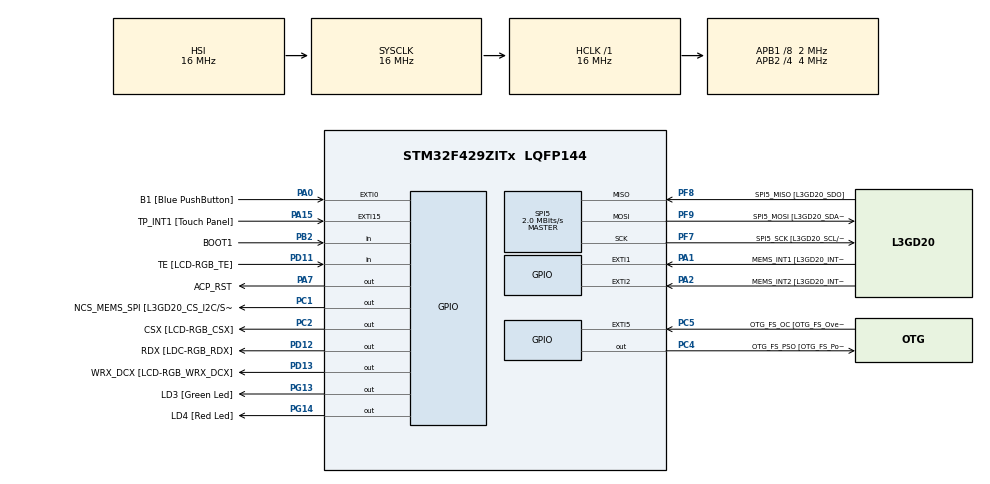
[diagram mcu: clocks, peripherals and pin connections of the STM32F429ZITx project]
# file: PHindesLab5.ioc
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Mcu.Family=STM32F4
Mcu.Name=STM32F429ZITx
Mcu.Package=LQFP144
NVIC.EXTI0_IRQn=true\:0\:0\:false\:false\:true\:true\:true\:true
NVIC.PriorityGroup=NVIC_PRIORITYGROUP_0
PA0/WKUP.GPIO_Label=B1 [Blue PushButton]
PA0/WKUP.GPIO_ModeDefaultEXTI=GPIO_MODE_IT_RISING
PA0/WKUP.GPIO_PuPd=GPIO_NOPULL
PA0/WKUP.Signal=GPXTI0
PA1.GPIO_Label=MEMS_INT1 [L3GD20_INT1]
PA1.GPIO_ModeDefaultEXTI=GPIO_MODE_EVT_RISING
PA1.GPIO_PuPd=GPIO_NOPULL
PA1.Signal=GPXTI1
PA10.GPIO_Label=STLINK_TX [STM32F103CBT6_PA2]
PA10.Signal=USART1_RX
PA11.GPIO_Label=R4
PA11.GPIO_Mode=GPIO_MODE_AF_PP
PA11.GPIO_PuPd=GPIO_NOPULL
PA11.GPIO_Speed=GPIO_SPEED_FREQ_LOW
PA11.Signal=LTDC_R4
PA12.GPIO_Label=R5
PA12.GPIO_Mode=GPIO_MODE_AF_PP
PA12.GPIO_PuPd=GPIO_NOPULL
PA12.GPIO_Speed=GPIO_SPEED_FREQ_LOW
PA12.Signal=LTDC_R5
PA13.GPIO_Label=SWDIO
PA13.Signal=SYS_JTMS-SWDIO
PA14.GPIO_Label=SWCLK
PA14.Signal=SYS_JTCK-SWCLK
PA15.GPIO_Label=TP_INT1 [Touch Panel]
PA15.GPIO_ModeDefaultEXTI=GPIO_MODE_EVT_RISING
PA15.GPIO_PuPd=GPIO_NOPULL
PA15.Signal=GPXTI15
PA2.GPIO_Label=MEMS_INT2 [L3GD20_INT2]
PA2.GPIO_ModeDefaultEXTI=GPIO_MODE_EVT_RISING
PA2.GPIO_PuPd=GPIO_NOPULL
PA2.Signal=GPXTI2
PA3.GPIO_Label=B5
PA3.GPIO_Mode=GPIO_MODE_AF_PP
PA3.GPIO_PuPd=GPIO_NOPULL
PA3.GPIO_Speed=GPIO_SPEED_FREQ_LOW
PA3.Signal=LTDC_B5
PA4.GPIO_Label=VSYNC
PA4.GPIO_Mode=GPIO_MODE_AF_PP
PA4.GPIO_PuPd=GPIO_NOPULL
PA4.GPIO_Speed=GPIO_SPEED_FREQ_LOW
PA4.Signal=LTDC_VSYNC
PA6.GPIO_Label=G2
PA6.GPIO_Mode=GPIO_MODE_AF_PP
PA6.GPIO_PuPd=GPIO_NOPULL
PA6.GPIO_Speed=GPIO_SPEED_FREQ_LOW
PA6.Signal=LTDC_G2
PA7.GPIO_Label=ACP_RST
PA7.GPIO_Mode=GPIO_MODE_OUTPUT_PP
PA7.GPIO_PuPd=GPIO_NOPULL
PA7.GPIO_Speed=GPIO_SPEED_FREQ_LOW
PA7.Signal=GPIO_Output
PA8.GPIO_Label=I2C3_SCL [ACP/RF_SCL]
PA8.GPIO_Mode=GPIO_MODE_AF_OD
PA8.GPIO_PuPd=GPIO_NOPULL
PA8.GPIO_Speed=GPIO_SPEED_FREQ_LOW
PA8.Signal=I2C3_SCL
PA9.GPIO_Label=STLINK_RX [STM32F103CBT6_PA3]
PA9.Signal=USART1_TX
PB0.GPIO_Label=R3
PB0.GPIO_Mode=GPIO_MODE_AF_PP
PB0.GPIO_PuPd=GPIO_NOPULL
PB0.GPIO_Speed=GPIO_SPEED_FREQ_LOW
PB0.Signal=LTDC_R3
PB1.GPIO_Label=R6
PB1.GPIO_Mode=GPIO_MODE_AF_PP
PB1.GPIO_PuPd=GPIO_NOPULL
PB1.GPIO_Speed=GPIO_SPEED_FREQ_LOW
PB1.Signal=LTDC_R6
PB10.GPIO_Label=G4
PB10.GPIO_Mode=GPIO_MODE_AF_PP
PB10.GPIO_PuPd=GPIO_NOPULL
PB10.GPIO_Speed=GPIO_SPEED_FREQ_LOW
PB10.Signal=LTDC_G4
PB11.GPIO_Label=G5
PB11.GPIO_Mode=GPIO_MODE_AF_PP
PB11.GPIO_PuPd=GPIO_NOPULL
PB11.GPIO_Speed=GPIO_SPEED_FREQ_LOW
PB11.Signal=LTDC_G5
PB12.GPIO_Label=OTG_HS_ID
PB12.GPIO_Mode=GPIO_MODE_AF_PP
PB12.GPIO_PuPd=GPIO_NOPULL
PB12.GPIO_Speed=GPIO_SPEED_FREQ_LOW
PB12.Signal=USB_OTG_HS_ID
PB13.GPIO_Label=VBUS_HS
PB13.GPIO_Mode=GPIO_MODE_INPUT
PB13.GPIO_PuPd=GPIO_NOPULL
PB13.Signal=USB_OTG_HS_VBUS
PB14.GPIO_Label=OTG_HS_DM
PB14.GPIO_Mode=GPIO_MODE_AF_PP
PB14.GPIO_PuPd=GPIO_NOPULL
PB14.GPIO_Speed=GPIO_SPEED_FREQ_LOW
PB14.Signal=USB_OTG_HS_DM
PB15.GPIO_Label=OTG_HS_DP
PB15.GPIO_Mode=GPIO_MODE_AF_PP
PB15.GPIO_PuPd=GPIO_NOPULL
PB15.GPIO_Speed=GPIO_SPEED_FREQ_LOW
PB15.Signal=USB_OTG_HS_DP
PB2/BOOT1.GPIO_Label=BOOT1
PB2/BOOT1.GPIO_Mode=GPIO_MODE_INPUT
PB2/BOOT1.GPIO_PuPd=GPIO_NOPULL
PB2/BOOT1.Signal=GPIO_Input
PB5.GPIO_Label=SDCKE1
PB5.GPIO_Mode=GPIO_MODE_AF_PP
PB5.GPIO_PuPd=GPIO_NOPULL
PB5.GPIO_Speed=GPIO_SPEED_FREQ_VERY_HIGH
PB5.Signal=FMC_SDCKE1
PB6.GPIO_Label=SDNE1 [SDRAM_CS]
PB6.GPIO_Mode=GPIO_MODE_AF_PP
PB6.GPIO_PuPd=GPIO_NOPULL
PB6.GPIO_Speed=GPIO_SPEED_FREQ_VERY_HIGH
PB6.Signal=FMC_SDNE1
PB8.GPIO_Label=B6
PB8.GPIO_Mode=GPIO_MODE_AF_PP
PB8.GPIO_PuPd=GPIO_NOPULL
PB8.GPIO_Speed=GPIO_SPEED_FREQ_LOW
PB8.Signal=LTDC_B6
PB9.GPIO_Label=B7
PB9.GPIO_Mode=GPIO_MODE_AF_PP
PB9.GPIO_PuPd=GPIO_NOPULL
PB9.GPIO_Speed=GPIO_SPEED_FREQ_LOW
PB9.Signal=LTDC_B7
PC0.GPIO_Label=SDNWE
PC0.GPIO_Mode=GPIO_MODE_AF_PP
PC0.GPIO_PuPd=GPIO_NOPULL
PC0.GPIO_Speed=GPIO_SPEED_FREQ_VERY_HIGH
PC0.Signal=FMC_SDNWE
PC1.GPIO_Label=NCS_MEMS_SPI [L3GD20_CS_I2C/SPI]
PC1.GPIO_Mode=GPIO_MODE_OUTPUT_PP
PC1.GPIO_PuPd=GPIO_NOPULL
PC1.GPIO_Speed=GPIO_SPEED_FREQ_LOW
PC1.Signal=GPIO_Output
PC10.GPIO_Label=R2
PC10.GPIO_Mode=GPIO_MODE_AF_PP
PC10.GPIO_PuPd=GPIO_NOPULL
PC10.GPIO_Speed=GPIO_SPEED_FREQ_LOW
PC10.Signal=LTDC_R2
PC14/OSC32_IN.GPIO_Label=PC14-OSC32_IN
PC14/OSC32_IN.Signal=RCC_OSC32_IN
PC15/OSC32_OUT.GPIO_Label=PC15-OSC32_OUT
PC15/OSC32_OUT.Signal=RCC_OSC32_OUT
PC2.GPIO_Label=CSX [LCD-RGB_CSX]
PC2.GPIO_Mode=GPIO_MODE_OUTPUT_PP
PC2.GPIO_PuPd=GPIO_NOPULL
PC2.GPIO_Speed=GPIO_SPEED_FREQ_LOW
PC2.Signal=GPIO_Output
PC4.GPIO_Label=OTG_FS_PSO [OTG_FS_PowerSwitchOn]
PC4.GPIO_Mode=GPIO_MODE_OUTPUT_PP
PC4.GPIO_PuPd=GPIO_NOPULL
PC4.GPIO_Speed=GPIO_SPEED_FREQ_LOW
PC4.Signal=GPIO_Output
PC5.GPIO_Label=OTG_FS_OC [OTG_FS_OverCurrent]
PC5.GPIO_ModeDefaultEXTI=GPIO_MODE_EVT_RISING
PC5.Signal=GPXTI5
PC6.GPIO_Label=HSYNC
PC6.GPIO_Mode=GPIO_MODE_AF_PP
PC6.GPIO_PuPd=GPIO_NOPULL
PC6.GPIO_Speed=GPIO_SPEED_FREQ_LOW
PC6.Signal=LTDC_HSYNC
PC7.GPIO_Label=G6
PC7.GPIO_Mode=GPIO_MODE_AF_PP
PC7.GPIO_PuPd=GPIO_NOPULL
PC7.GPIO_Speed=GPIO_SPEED_FREQ_LOW
PC7.Signal=LTDC_G6
PC9.GPIO_Label=I2C3_SDA [ACP/RF_SDA]
PC9.GPIO_Mode=GPIO_MODE_AF_OD
PC9.GPIO_PuPd=GPIO_NOPULL
PC9.GPIO_Speed=GPIO_SPEED_FREQ_LOW
PC9.Signal=I2C3_SDA
PD0.GPIO_Label=D2
PD0.GPIO_Mode=GPIO_MODE_AF_PP
PD0.GPIO_PuPd=GPIO_NOPULL
PD0.GPIO_Speed=GPIO_SPEED_FREQ_VERY_HIGH
PD0.Signal=FMC_D2_DA2
PD1.GPIO_Label=D3
PD1.GPIO_Mode=GPIO_MODE_AF_PP
PD1.GPIO_PuPd=GPIO_NOPULL
PD1.GPIO_Speed=GPIO_SPEED_FREQ_VERY_HIGH
PD1.Signal=FMC_D3_DA3
PD10.GPIO_Label=D15
PD10.GPIO_Mode=GPIO_MODE_AF_PP
PD10.GPIO_PuPd=GPIO_NOPULL
PD10.GPIO_Speed=GPIO_SPEED_FREQ_VERY_HIGH
PD10.Signal=FMC_D15_DA15
PD11.GPIO_Label=TE [LCD-RGB_TE]
PD11.GPIO_Mode=GPIO_MODE_INPUT
PD11.GPIO_PuPd=GPIO_NOPULL
PD11.Signal=GPIO_Input
PD12.GPIO_Label=RDX [LDC-RGB_RDX]
PD12.GPIO_Mode=GPIO_MODE_OUTPUT_PP
PD12.GPIO_PuPd=GPIO_NOPULL
PD12.GPIO_Speed=GPIO_SPEED_FREQ_LOW
PD12.Signal=GPIO_Output
PD13.GPIO_Label=WRX_DCX [LCD-RGB_WRX_DCX]
PD13.GPIO_Mode=GPIO_MODE_OUTPUT_PP
PD13.GPIO_PuPd=GPIO_NOPULL
PD13.GPIO_Speed=GPIO_SPEED_FREQ_LOW
PD13.Signal=GPIO_Output
PD14.GPIO_Label=D0
PD14.GPIO_Mode=GPIO_MODE_AF_PP
PD14.GPIO_PuPd=GPIO_NOPULL
PD14.GPIO_Speed=GPIO_SPEED_FREQ_VERY_HIGH
PD14.Signal=FMC_D0_DA0
PD15.GPIO_Label=D1
PD15.GPIO_Mode=GPIO_MODE_AF_PP
PD15.GPIO_PuPd=GPIO_NOPULL
PD15.GPIO_Speed=GPIO_SPEED_FREQ_VERY_HIGH
PD15.Signal=FMC_D1_DA1
PD3.GPIO_Label=G7
PD3.GPIO_Mode=GPIO_MODE_AF_PP
PD3.GPIO_PuPd=GPIO_NOPULL
PD3.GPIO_Speed=GPIO_SPEED_FREQ_LOW
PD3.Signal=LTDC_G7
PD6.GPIO_Label=B2
PD6.GPIO_Mode=GPIO_MODE_AF_PP
PD6.GPIO_PuPd=GPIO_NOPULL
PD6.GPIO_Speed=GPIO_SPEED_FREQ_LOW
PD6.Signal=LTDC_B2
PD8.GPIO_Label=D13
PD8.GPIO_Mode=GPIO_MODE_AF_PP
PD8.GPIO_PuPd=GPIO_NOPULL
PD8.GPIO_Speed=GPIO_SPEED_FREQ_VERY_HIGH
PD8.Signal=FMC_D13_DA13
PD9.GPIO_Label=D14
PD9.GPIO_Mode=GPIO_MODE_AF_PP
PD9.GPIO_PuPd=GPIO_NOPULL
PD9.GPIO_Speed=GPIO_SPEED_FREQ_VERY_HIGH
PD9.Signal=FMC_D14_DA14
PE0.GPIO_Label=NBL0 [SDRAM_LDQM]
PE0.GPIO_Mode=GPIO_MODE_AF_PP
PE0.GPIO_PuPd=GPIO_NOPULL
PE0.GPIO_Speed=GPIO_SPEED_FREQ_VERY_HIGH
PE0.Signal=FMC_NBL0
PE1.GPIO_Label=NBL1 [SDRAM_UDQM]
PE1.GPIO_Mode=GPIO_MODE_AF_PP
PE1.GPIO_PuPd=GPIO_NOPULL
PE1.GPIO_Speed=GPIO_SPEED_FREQ_VERY_HIGH
PE1.Signal=FMC_NBL1
PE10.GPIO_Label=D7
PE10.GPIO_Mode=GPIO_MODE_AF_PP
PE10.GPIO_PuPd=GPIO_NOPULL
PE10.GPIO_Speed=GPIO_SPEED_FREQ_VERY_HIGH
PE10.Signal=FMC_D7_DA7
PE11.GPIO_Label=D8
PE11.GPIO_Mode=GPIO_MODE_AF_PP
PE11.GPIO_PuPd=GPIO_NOPULL
PE11.GPIO_Speed=GPIO_SPEED_FREQ_VERY_HIGH
PE11.Signal=FMC_D8_DA8
PE12.GPIO_Label=D9
PE12.GPIO_Mode=GPIO_MODE_AF_PP
PE12.GPIO_PuPd=GPIO_NOPULL
PE12.GPIO_Speed=GPIO_SPEED_FREQ_VERY_HIGH
PE12.Signal=FMC_D9_DA9
PE13.GPIO_Label=D10
PE13.GPIO_Mode=GPIO_MODE_AF_PP
PE13.GPIO_PuPd=GPIO_NOPULL
PE13.GPIO_Speed=GPIO_SPEED_FREQ_VERY_HIGH
PE13.Signal=FMC_D10_DA10
PE14.GPIO_Label=D11
PE14.GPIO_Mode=GPIO_MODE_AF_PP
PE14.GPIO_PuPd=GPIO_NOPULL
PE14.GPIO_Speed=GPIO_SPEED_FREQ_VERY_HIGH
PE14.Signal=FMC_D11_DA11
PE15.GPIO_Label=D12
PE15.GPIO_Mode=GPIO_MODE_AF_PP
PE15.GPIO_PuPd=GPIO_NOPULL
PE15.GPIO_Speed=GPIO_SPEED_FREQ_VERY_HIGH
PE15.Signal=FMC_D12_DA12
PE7.GPIO_Label=D4
PE7.GPIO_Mode=GPIO_MODE_AF_PP
PE7.GPIO_PuPd=GPIO_NOPULL
PE7.GPIO_Speed=GPIO_SPEED_FREQ_VERY_HIGH
PE7.Signal=FMC_D4_DA4
PE8.GPIO_Label=D5
PE8.GPIO_Mode=GPIO_MODE_AF_PP
PE8.GPIO_PuPd=GPIO_NOPULL
PE8.GPIO_Speed=GPIO_SPEED_FREQ_VERY_HIGH
PE8.Signal=FMC_D5_DA5
PE9.GPIO_Label=D6
PE9.GPIO_Mode=GPIO_MODE_AF_PP
PE9.GPIO_PuPd=GPIO_NOPULL
PE9.GPIO_Speed=GPIO_SPEED_FREQ_VERY_HIGH
PE9.Signal=FMC_D6_DA6
PF0.GPIO_Label=A0
PF0.GPIO_Mode=GPIO_MODE_AF_PP
PF0.GPIO_PuPd=GPIO_NOPULL
PF0.GPIO_Speed=GPIO_SPEED_FREQ_VERY_HIGH
PF0.Signal=FMC_A0
PF1.GPIO_Label=A1
PF1.GPIO_Mode=GPIO_MODE_AF_PP
PF1.GPIO_PuPd=GPIO_NOPULL
PF1.GPIO_Speed=GPIO_SPEED_FREQ_VERY_HIGH
PF1.Signal=FMC_A1
PF10.GPIO_Label=ENABLE [LCD-RGB_ENABLE]
PF10.GPIO_Mode=GPIO_MODE_AF_PP
PF10.GPIO_PuPd=GPIO_NOPULL
PF10.GPIO_Speed=GPIO_SPEED_FREQ_LOW
PF10.Signal=LTDC_DE
PF11.GPIO_Label=SDNRAS
PF11.GPIO_Mode=GPIO_MODE_AF_PP
PF11.GPIO_PuPd=GPIO_NOPULL
PF11.GPIO_Speed=GPIO_SPEED_FREQ_VERY_HIGH
PF11.Signal=FMC_SDNRAS
PF12.GPIO_Label=A6
PF12.GPIO_Mode=GPIO_MODE_AF_PP
PF12.GPIO_PuPd=GPIO_NOPULL
PF12.GPIO_Speed=GPIO_SPEED_FREQ_VERY_HIGH
PF12.Signal=FMC_A6
PF13.GPIO_Label=A7
PF13.GPIO_Mode=GPIO_MODE_AF_PP
PF13.GPIO_PuPd=GPIO_NOPULL
PF13.GPIO_Speed=GPIO_SPEED_FREQ_VERY_HIGH
PF13.Signal=FMC_A7
PF14.GPIO_Label=A8
PF14.GPIO_Mode=GPIO_MODE_AF_PP
PF14.GPIO_PuPd=GPIO_NOPULL
PF14.GPIO_Speed=GPIO_SPEED_FREQ_VERY_HIGH
PF14.Signal=FMC_A8
PF15.GPIO_Label=A9
PF15.GPIO_Mode=GPIO_MODE_AF_PP
PF15.GPIO_PuPd=GPIO_NOPULL
PF15.GPIO_Speed=GPIO_SPEED_FREQ_VERY_HIGH
PF15.Signal=FMC_A9
PF2.GPIO_Label=A2
PF2.GPIO_Mode=GPIO_MODE_AF_PP
PF2.GPIO_PuPd=GPIO_NOPULL
PF2.GPIO_Speed=GPIO_SPEED_FREQ_VERY_HIGH
PF2.Signal=FMC_A2
PF3.GPIO_Label=A3
PF3.GPIO_Mode=GPIO_MODE_AF_PP
PF3.GPIO_PuPd=GPIO_NOPULL
PF3.GPIO_Speed=GPIO_SPEED_FREQ_VERY_HIGH
PF3.Signal=FMC_A3
PF4.GPIO_Label=A4
PF4.GPIO_Mode=GPIO_MODE_AF_PP
PF4.GPIO_PuPd=GPIO_NOPULL
PF4.GPIO_Speed=GPIO_SPEED_FREQ_VERY_HIGH
PF4.Signal=FMC_A4
PF5.GPIO_Label=A5
PF5.GPIO_Mode=GPIO_MODE_AF_PP
PF5.GPIO_PuPd=GPIO_NOPULL
PF5.GPIO_Speed=GPIO_SPEED_FREQ_VERY_HIGH
PF5.Signal=FMC_A5
PF7.GPIO_Label=SPI5_SCK [L3GD20_SCL/SPC]
PF7.GPIO_Mode=GPIO_MODE_AF_PP
PF7.GPIO_PuPd=GPIO_NOPULL
PF7.GPIO_Speed=GPIO_SPEED_FREQ_LOW
PF7.Mode=Full_Duplex_Master
PF7.Signal=SPI5_SCK
PF8.GPIO_Label=SPI5_MISO [L3GD20_SDO]
PF8.GPIO_Mode=GPIO_MODE_AF_PP
PF8.GPIO_PuPd=GPIO_NOPULL
PF8.GPIO_Speed=GPIO_SPEED_FREQ_LOW
PF8.Mode=Full_Duplex_Master
PF8.Signal=SPI5_MISO
PF9.GPIO_Label=SPI5_MOSI [L3GD20_SDA/SDI/SDO]
PF9.GPIO_Mode=GPIO_MODE_AF_PP
PF9.GPIO_PuPd=GPIO_NOPULL
PF9.GPIO_Speed=GPIO_SPEED_FREQ_LOW
PF9.Mode=Full_Duplex_Master
PF9.Signal=SPI5_MOSI
PG0.GPIO_Label=A10
PG0.GPIO_Mode=GPIO_MODE_AF_PP
PG0.GPIO_PuPd=GPIO_NOPULL
PG0.GPIO_Speed=GPIO_SPEED_FREQ_VERY_HIGH
PG0.Signal=FMC_A10
PG1.GPIO_Label=A11
PG1.GPIO_Mode=GPIO_MODE_AF_PP
PG1.GPIO_PuPd=GPIO_NOPULL
PG1.GPIO_Speed=GPIO_SPEED_FREQ_VERY_HIGH
PG1.Signal=FMC_A11
PG10.GPIO_Label=G3
PG10.GPIO_Mode=GPIO_MODE_AF_PP
PG10.GPIO_PuPd=GPIO_NOPULL
PG10.GPIO_Speed=GPIO_SPEED_FREQ_LOW
PG10.Signal=LTDC_G3
PG11.GPIO_Label=B3
PG11.GPIO_Mode=GPIO_MODE_AF_PP
PG11.GPIO_PuPd=GPIO_NOPULL
PG11.GPIO_Speed=GPIO_SPEED_FREQ_LOW
PG11.Signal=LTDC_B3
PG12.GPIO_Label=B4
PG12.GPIO_Mode=GPIO_MODE_AF_PP
PG12.GPIO_PuPd=GPIO_NOPULL
PG12.GPIO_Speed=GPIO_SPEED_FREQ_LOW
PG12.Signal=LTDC_B4
PG13.GPIO_Label=LD3 [Green Led]
PG13.GPIO_Mode=GPIO_MODE_OUTPUT_PP
PG13.GPIO_PuPd=GPIO_NOPULL
PG13.GPIO_Speed=GPIO_SPEED_FREQ_LOW
PG13.Signal=GPIO_Output
PG14.GPIO_Label=LD4 [Red Led]
PG14.GPIO_Mode=GPIO_MODE_OUTPUT_PP
PG14.GPIO_PuPd=GPIO_NOPULL
PG14.GPIO_Speed=GPIO_SPEED_FREQ_LOW
PG14.Signal=GPIO_Output
PG15.GPIO_Label=SDNCAS
PG15.GPIO_Mode=GPIO_MODE_AF_PP
PG15.GPIO_PuPd=GPIO_NOPULL
PG15.GPIO_Speed=GPIO_SPEED_FREQ_VERY_HIGH
PG15.Signal=FMC_SDNCAS
PG4.GPIO_Label=BA0
PG4.GPIO_Mode=GPIO_MODE_AF_PP
PG4.GPIO_PuPd=GPIO_NOPULL
PG4.GPIO_Speed=GPIO_SPEED_FREQ_VERY_HIGH
PG4.Signal=FMC_A14_BA0
PG5.GPIO_Label=BA1
PG5.GPIO_Mode=GPIO_MODE_AF_PP
PG5.GPIO_PuPd=GPIO_NOPULL
PG5.GPIO_Speed=GPIO_SPEED_FREQ_VERY_HIGH
PG5.Signal=FMC_A15_BA1
PG6.GPIO_Label=R7
PG6.GPIO_Mode=GPIO_MODE_AF_PP
PG6.GPIO_PuPd=GPIO_NOPULL
PG6.GPIO_Speed=GPIO_SPEED_FREQ_LOW
PG6.Signal=LTDC_R7
PG7.GPIO_Label=DOTCLK [LCT-RGB_DOTCLK]
PG7.GPIO_Mode=GPIO_MODE_AF_PP
PG7.GPIO_PuPd=GPIO_NOPULL
PG7.GPIO_Speed=GPIO_SPEED_FREQ_LOW
PG7.Signal=LTDC_CLK
PG8.GPIO_Label=SDCLK
PG8.GPIO_Mode=GPIO_MODE_AF_PP
PG8.GPIO_PuPd=GPIO_NOPULL
PG8.GPIO_Speed=GPIO_SPEED_FREQ_VERY_HIGH
PG8.Signal=FMC_SDCLK
PH0/OSC_IN.GPIO_Label=PH0-OSC_IN
PH0/OSC_IN.Signal=RCC_OSC_IN
PH1/OSC_OUT.GPIO_Label=PH1-OSC_OUT
PH1/OSC_OUT.Signal=RCC_OSC_OUT
ProjectManager.HeapSize=0x200
ProjectManager.StackSize=0x400
ProjectManager.TargetToolchain=STM32CubeIDE
RCC.48MHZClocksFreq_Value=14285714.285714285
RCC.AHBFreq_Value=16000000
RCC.APB1CLKDivider=RCC_HCLK_DIV8
RCC.APB1Freq_Value=2000000
RCC.APB1TimFreq_Value=4000000
RCC.APB2CLKDivider=RCC_HCLK_DIV4
RCC.APB2Freq_Value=4000000
RCC.APB2TimFreq_Value=8000000
RCC.CortexFreq_Value=16000000
RCC.HCLKFreq_Value=16000000
RCC.HSE_VALUE=8000000
RCC.HSI_VALUE=16000000
RCC.LSE_VALUE=32768
RCC.PLLM=8
RCC.PLLN=50
RCC.PLLP=RCC_PLLP_DIV4
RCC.PLLQ=7
RCC.SYSCLKFreq_VALUE=16000000
RCC.VCOOutputFreq_Value=100000000
SH.FMC_A0.0=FMC_A0
SH.FMC_A1.0=FMC_A1
SH.FMC_A10.0=FMC_A10
SH.FMC_A11.0=FMC_A11
SH.FMC_A14_BA0.0=FMC_BA0
SH.FMC_A15_BA1.0=FMC_BA1
SH.FMC_A2.0=FMC_A2
SH.FMC_A3.0=FMC_A3
SH.FMC_A4.0=FMC_A4
SH.FMC_A5.0=FMC_A5
SH.FMC_A6.0=FMC_A6
SH.FMC_A7.0=FMC_A7
SH.FMC_A8.0=FMC_A8
SH.FMC_A9.0=FMC_A9
SH.FMC_D0_DA0.0=FMC_D0
SH.FMC_D10_DA10.0=FMC_D10
SH.FMC_D11_DA11.0=FMC_D11
SH.FMC_D12_DA12.0=FMC_D12
SH.FMC_D13_DA13.0=FMC_D13
SH.FMC_D14_DA14.0=FMC_D14
SH.FMC_D15_DA15.0=FMC_D15
SH.FMC_D1_DA1.0=FMC_D1
SH.FMC_D2_DA2.0=FMC_D2
SH.FMC_D3_DA3.0=FMC_D3
SH.FMC_D4_DA4.0=FMC_D4
SH.FMC_D5_DA5.0=FMC_D5
SH.FMC_D6_DA6.0=FMC_D6
SH.FMC_D7_DA7.0=FMC_D7
SH.FMC_D8_DA8.0=FMC_D8
SH.FMC_D9_DA9.0=FMC_D9
SH.FMC_NBL0.0=FMC_NBL0
SH.FMC_NBL1.0=FMC_NBL1
SH.FMC_SDCLK.0=FMC_SDCLK
SH.FMC_SDNCAS.0=FMC_SDNCAS
SH.FMC_SDNRAS.0=FMC_SDNRAS
SH.FMC_SDNWE.0=FMC_SDNWE
SPI5.CalculateBaudRate=2.0 MBits/s
SPI5.Direction=SPI_DIRECTION_2LINES
SPI5.Mode=SPI_MODE_MASTER
SPI5.VirtualType=VM_MASTER
board=STM32F429I-DISC1

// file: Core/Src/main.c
/* USER CODE BEGIN Header */
/**
  ******************************************************************************
  * @file           : main.c
  * @brief          : Main program body
  ******************************************************************************
  * @attention
  *
  * Copyright (c) 2024 STMicroelectronics.
  * All rights reserved.
  *
  * This software is licensed under terms that can be found in the LICENSE file
  * in the root directory of this software component.
  * If no LICENSE file comes with this software, it is provided AS-IS.
  *
  ******************************************************************************
  */
/* USER CODE END Header */
#include "main.h"

/* USER CODE BEGIN Includes */
#include <types.h>
#include <ApplicationCode.h>
#include <Scheduler.h>
#include <Gyro.h>
extern void initialise_monitor_handles(void);
/* USER CODE END Includes */

SPI_HandleTypeDef hspi5;

/* USER CODE BEGIN PV */
void SystemClock_Config(void);
#ifdef HAL_INITS
/* USER CODE END PV */

void SystemClock_Config(void);
static void MX_GPIO_Init(void);
static void MX_SPI5_Init(void);
/* USER CODE BEGIN PFP */
#endif
/* USER CODE END PFP */

/* USER CODE BEGIN 0 */
void HAL_GPIO_EXTI_Callback(uint16_t GPIO_Pin)
{
	printf("\n");
//	printf("INT\n");
	addSchedulerEvent(DELAY_EVENT);
	addSchedulerEvent(PRINT_TEMP_EVENT);
}
/* USER CODE END 0 */

int main(void)
{

  /* USER CODE BEGIN 1 */
  initialise_monitor_handles();
  /* USER CODE END 1 */

  /* MCU Configuration--------------------------------------------------------*/

  /* Reset of all peripherals, Initializes the Flash interface and the Systick. */
  HAL_Init();

  /* Configure the system clock */
  SystemClock_Config();

  /* USER CODE BEGIN SysInit */
#ifdef HAL_INITS
  /* USER CODE END SysInit */

  /* Initialize all configured peripherals */
  MX_GPIO_Init();
  MX_SPI5_Init();
  /* USER CODE BEGIN 2 */
#endif
//	addSchedulerEvent(DELAY_EVENT);
//	addSchedulerEvent(PRINT_TEMP_EVENT);
	applicationInit();
  /* USER CODE END 2 */

  /* Infinite loop */
  /* USER CODE BEGIN WHILE */
	uint32_t eventsToRun = 0;
	while (1)
	{
		eventsToRun = getScheduledEvents();
		if ((eventsToRun & LED_TOGGLE_EVENT) != 0) {
			// TODO
		}
		if ((eventsToRun & DELAY_EVENT) != 0) {
			HAL_Delay(50);
			removeSchedulerEvent(DELAY_EVENT);
		}
		if ((eventsToRun & POLL_BTN_EVENT) != 0) {
			// TODO
		}
		if ((eventsToRun & PRINT_TEMP_EVENT) != 0) {
			Gyro_Get_Id();
			Gyro_Get_Temp();
			removeSchedulerEvent(PRINT_TEMP_EVENT);
		}
	}
    /* USER CODE END WHILE */

}

void SystemClock_Config(void)
{
  RCC_OscInitTypeDef RCC_OscInitStruct = {0};
  RCC_ClkInitTypeDef RCC_ClkInitStruct = {0};

  /** Configure the main internal regulator output voltage
  */
  __HAL_RCC_PWR_CLK_ENABLE();
  __HAL_PWR_VOLTAGESCALING_CONFIG(PWR_REGULATOR_VOLTAGE_SCALE3);

  /** Initializes the RCC Oscillators according to the specified parameters
  * in the RCC_OscInitTypeDef structure.
  */
  RCC_OscInitStruct.OscillatorType = RCC_OSCILLATORTYPE_HSI;
  RCC_OscInitStruct.HSIState = RCC_HSI_ON;
  RCC_OscInitStruct.HSICalibrationValue = RCC_HSICALIBRATION_DEFAULT;
  RCC_OscInitStruct.PLL.PLLState = RCC_PLL_NONE;
  if (HAL_RCC_OscConfig(&RCC_OscInitStruct) != HAL_OK)
  {
    Error_Handler();
  }

  /** Initializes the CPU, AHB and APB buses clocks
  */
  RCC_ClkInitStruct.ClockType = RCC_CLOCKTYPE_HCLK|RCC_CLOCKTYPE_SYSCLK
                              |RCC_CLOCKTYPE_PCLK1|RCC_CLOCKTYPE_PCLK2;
  RCC_ClkInitStruct.SYSCLKSource = RCC_SYSCLKSOURCE_HSI;
  RCC_ClkInitStruct.AHBCLKDivider = RCC_SYSCLK_DIV1;
  RCC_ClkInitStruct.APB1CLKDivider = RCC_HCLK_DIV8;
  RCC_ClkInitStruct.APB2CLKDivider = RCC_HCLK_DIV4;

  if (HAL_RCC_ClockConfig(&RCC_ClkInitStruct, FLASH_LATENCY_0) != HAL_OK)
  {
    Error_Handler();
  }
}

#ifdef HAL_INITS
static void MX_SPI5_Init(void)
{

  /* SPI5 parameter configuration*/
  hspi5.Instance = SPI5;
  hspi5.Init.Mode = SPI_MODE_MASTER;
  hspi5.Init.Direction = SPI_DIRECTION_2LINES;
  hspi5.Init.DataSize = SPI_DATASIZE_8BIT;
  hspi5.Init.CLKPolarity = SPI_POLARITY_LOW;
  hspi5.Init.CLKPhase = SPI_PHASE_1EDGE;
  hspi5.Init.NSS = SPI_NSS_SOFT;
  hspi5.Init.BaudRatePrescaler = SPI_BAUDRATEPRESCALER_2;
  hspi5.Init.FirstBit = SPI_FIRSTBIT_MSB;
  hspi5.Init.TIMode = SPI_TIMODE_DISABLE;
  hspi5.Init.CRCCalculation = SPI_CRCCALCULATION_DISABLE;
  hspi5.Init.CRCPolynomial = 10;
  if (HAL_SPI_Init(&hspi5) != HAL_OK)
  {
    Error_Handler();
  }

}

static void MX_GPIO_Init(void)
{
  GPIO_InitTypeDef GPIO_InitStruct = {0};

  /* GPIO Ports Clock Enable */
  __HAL_RCC_GPIOC_CLK_ENABLE();
  __HAL_RCC_GPIOF_CLK_ENABLE();
  __HAL_RCC_GPIOH_CLK_ENABLE();
  __HAL_RCC_GPIOA_CLK_ENABLE();
  __HAL_RCC_GPIOB_CLK_ENABLE();
  __HAL_RCC_GPIOG_CLK_ENABLE();
  __HAL_RCC_GPIOE_CLK_ENABLE();
  __HAL_RCC_GPIOD_CLK_ENABLE();

  /*Configure GPIO pin Output Level */
  HAL_GPIO_WritePin(GPIOC, NCS_MEMS_SPI_Pin|CSX_Pin|OTG_FS_PSO_Pin, GPIO_PIN_RESET);

  /*Configure GPIO pin Output Level */
  HAL_GPIO_WritePin(ACP_RST_GPIO_Port, ACP_RST_Pin, GPIO_PIN_RESET);

  /*Configure GPIO pin Output Level */
  HAL_GPIO_WritePin(GPIOD, RDX_Pin|WRX_DCX_Pin, GPIO_PIN_RESET);

  /*Configure GPIO pin Output Level */
  HAL_GPIO_WritePin(GPIOG, LD3_Pin|LD4_Pin, GPIO_PIN_RESET);

  /*Configure GPIO pins : A0_Pin A1_Pin A2_Pin A3_Pin
                           A4_Pin A5_Pin SDNRAS_Pin A6_Pin
                           A7_Pin A8_Pin A9_Pin */
  GPIO_InitStruct.Pin = A0_Pin|A1_Pin|A2_Pin|A3_Pin
                          |A4_Pin|A5_Pin|SDNRAS_Pin|A6_Pin
                          |A7_Pin|A8_Pin|A9_Pin;
  GPIO_InitStruct.Mode = GPIO_MODE_AF_PP;
  GPIO_InitStruct.Pull = GPIO_NOPULL;
  GPIO_InitStruct.Speed = GPIO_SPEED_FREQ_VERY_HIGH;
  GPIO_InitStruct.Alternate = GPIO_AF12_FMC;
  HAL_GPIO_Init(GPIOF, &GPIO_InitStruct);

  /*Configure GPIO pin : ENABLE_Pin */
  GPIO_InitStruct.Pin = ENABLE_Pin;
  GPIO_InitStruct.Mode = GPIO_MODE_AF_PP;
  GPIO_InitStruct.Pull = GPIO_NOPULL;
  GPIO_InitStruct.Speed = GPIO_SPEED_FREQ_LOW;
  GPIO_InitStruct.Alternate = GPIO_AF14_LTDC;
  HAL_GPIO_Init(ENABLE_GPIO_Port, &GPIO_InitStruct);

  /*Configure GPIO pin : SDNWE_Pin */
  GPIO_InitStruct.Pin = SDNWE_Pin;
  GPIO_InitStruct.Mode = GPIO_MODE_AF_PP;
  GPIO_InitStruct.Pull = GPIO_NOPULL;
  GPIO_InitStruct.Speed = GPIO_SPEED_FREQ_VERY_HIGH;
  GPIO_InitStruct.Alternate = GPIO_AF12_FMC;
  HAL_GPIO_Init(SDNWE_GPIO_Port, &GPIO_InitStruct);

  /*Configure GPIO pins : NCS_MEMS_SPI_Pin CSX_Pin OTG_FS_PSO_Pin */
  GPIO_InitStruct.Pin = NCS_MEMS_SPI_Pin|CSX_Pin|OTG_FS_PSO_Pin;
  GPIO_InitStruct.Mode = GPIO_MODE_OUTPUT_PP;
  GPIO_InitStruct.Pull = GPIO_NOPULL;
  GPIO_InitStruct.Speed = GPIO_SPEED_FREQ_LOW;
  HAL_GPIO_Init(GPIOC, &GPIO_InitStruct);

  /*Configure GPIO pin : B1_Pin */
  GPIO_InitStruct.Pin = B1_Pin;
  GPIO_InitStruct.Mode = GPIO_MODE_IT_RISING;
  GPIO_InitStruct.Pull = GPIO_NOPULL;
  HAL_GPIO_Init(B1_GPIO_Port, &GPIO_InitStruct);

  /*Configure GPIO pins : MEMS_INT1_Pin MEMS_INT2_Pin TP_INT1_Pin */
  GPIO_InitStruct.Pin = MEMS_INT1_Pin|MEMS_INT2_Pin|TP_INT1_Pin;
  GPIO_InitStruct.Mode = GPIO_MODE_EVT_RISING;
  GPIO_InitStruct.Pull = GPIO_NOPULL;
  HAL_GPIO_Init(GPIOA, &GPIO_InitStruct);

  /*Configure GPIO pins : B5_Pin VSYNC_Pin G2_Pin R4_Pin
                           R5_Pin */
  GPIO_InitStruct.Pin = B5_Pin|VSYNC_Pin|G2_Pin|R4_Pin
                          |R5_Pin;
  GPIO_InitStruct.Mode = GPIO_MODE_AF_PP;
  GPIO_InitStruct.Pull = GPIO_NOPULL;
  GPIO_InitStruct.Speed = GPIO_SPEED_FREQ_LOW;
  GPIO_InitStruct.Alternate = GPIO_AF14_LTDC;
  HAL_GPIO_Init(GPIOA, &GPIO_InitStruct);

  /*Configure GPIO pin : ACP_RST_Pin */
  GPIO_InitStruct.Pin = ACP_RST_Pin;
  GPIO_InitStruct.Mode = GPIO_MODE_OUTPUT_PP;
  GPIO_InitStruct.Pull = GPIO_NOPULL;
  GPIO_InitStruct.Speed = GPIO_SPEED_FREQ_LOW;
  HAL_GPIO_Init(ACP_RST_GPIO_Port, &GPIO_InitStruct);

  /*Configure GPIO pin : OTG_FS_OC_Pin */
  GPIO_InitStruct.Pin = OTG_FS_OC_Pin;
  GPIO_InitStruct.Mode = GPIO_MODE_EVT_RISING;
  GPIO_InitStruct.Pull = GPIO_NOPULL;
  HAL_GPIO_Init(OTG_FS_OC_GPIO_Port, &GPIO_InitStruct);

  /*Configure GPIO pins : R3_Pin R6_Pin */
  GPIO_InitStruct.Pin = R3_Pin|R6_Pin;
  GPIO_InitStruct.Mode = GPIO_MODE_AF_PP;
  GPIO_InitStruct.Pull = GPIO_NOPULL;
  GPIO_InitStruct.Speed = GPIO_SPEED_FREQ_LOW;
  GPIO_InitStruct.Alternate = GPIO_AF9_LTDC;
  HAL_GPIO_Init(GPIOB, &GPIO_InitStruct);

  /*Configure GPIO pin : BOOT1_Pin */
  GPIO_InitStruct.Pin = BOOT1_Pin;
  GPIO_InitStruct.Mode = GPIO_MODE_INPUT;
  GPIO_InitStruct.Pull = GPIO_NOPULL;
  HAL_GPIO_Init(BOOT1_GPIO_Port, &GPIO_InitStruct);

  /*Configure GPIO pins : A10_Pin A11_Pin BA0_Pin BA1_Pin
                           SDCLK_Pin SDNCAS_Pin */
  GPIO_InitStruct.Pin = A10_Pin|A11_Pin|BA0_Pin|BA1_Pin
                          |SDCLK_Pin|SDNCAS_Pin;
  GPIO_InitStruct.Mode = GPIO_MODE_AF_PP;
  GPIO_InitStruct.Pull = GPIO_NOPULL;
  GPIO_InitStruct.Speed = GPIO_SPEED_FREQ_VERY_HIGH;
  GPIO_InitStruct.Alternate = GPIO_AF12_FMC;
  HAL_GPIO_Init(GPIOG, &GPIO_InitStruct);

  /*Configure GPIO pins : D4_Pin D5_Pin D6_Pin D7_Pin
                           D8_Pin D9_Pin D10_Pin D11_Pin
                           D12_Pin NBL0_Pin NBL1_Pin */
  GPIO_InitStruct.Pin = D4_Pin|D5_Pin|D6_Pin|D7_Pin
                          |D8_Pin|D9_Pin|D10_Pin|D11_Pin
                          |D12_Pin|NBL0_Pin|NBL1_Pin;
  GPIO_InitStruct.Mode = GPIO_MODE_AF_PP;
  GPIO_InitStruct.Pull = GPIO_NOPULL;
  GPIO_InitStruct.Speed = GPIO_SPEED_FREQ_VERY_HIGH;
  GPIO_InitStruct.Alternate = GPIO_AF12_FMC;
  HAL_GPIO_Init(GPIOE, &GPIO_InitStruct);

  /*Configure GPIO pins : G4_Pin G5_Pin B6_Pin B7_Pin */
  GPIO_InitStruct.Pin = G4_Pin|G5_Pin|B6_Pin|B7_Pin;
  GPIO_InitStruct.Mode = GPIO_MODE_AF_PP;
  GPIO_InitStruct.Pull = GPIO_NOPULL;
  GPIO_InitStruct.Speed = GPIO_SPEED_FREQ_LOW;
  GPIO_InitStruct.Alternate = GPIO_AF14_LTDC;
  HAL_GPIO_Init(GPIOB, &GPIO_InitStruct);

  /*Configure GPIO pins : OTG_HS_ID_Pin OTG_HS_DM_Pin OTG_HS_DP_Pin */
  GPIO_InitStruct.Pin = OTG_HS_ID_Pin|OTG_HS_DM_Pin|OTG_HS_DP_Pin;
  GPIO_InitStruct.Mode = GPIO_MODE_AF_PP;
  GPIO_InitStruct.Pull = GPIO_NOPULL;
  GPIO_InitStruct.Speed = GPIO_SPEED_FREQ_LOW;
  GPIO_InitStruct.Alternate = GPIO_AF12_OTG_HS_FS;
  HAL_GPIO_Init(GPIOB, &GPIO_InitStruct);

  /*Configure GPIO pin : VBUS_HS_Pin */
  GPIO_InitStruct.Pin = VBUS_HS_Pin;
  GPIO_InitStruct.Mode = GPIO_MODE_INPUT;
  GPIO_InitStruct.Pull = GPIO_NOPULL;
  HAL_GPIO_Init(VBUS_HS_GPIO_Port, &GPIO_InitStruct);

  /*Configure GPIO pins : D13_Pin D14_Pin D15_Pin D0_Pin
                           D1_Pin D2_Pin D3_Pin */
  GPIO_InitStruct.Pin = D13_Pin|D14_Pin|D15_Pin|D0_Pin
                          |D1_Pin|D2_Pin|D3_Pin;
  GPIO_InitStruct.Mode = GPIO_MODE_AF_PP;
  GPIO_InitStruct.Pull = GPIO_NOPULL;
  GPIO_InitStruct.Speed = GPIO_SPEED_FREQ_VERY_HIGH;
  GPIO_InitStruct.Alternate = GPIO_AF12_FMC;
  HAL_GPIO_Init(GPIOD, &GPIO_InitStruct);

  /*Configure GPIO pin : TE_Pin */
  GPIO_InitStruct.Pin = TE_Pin;
  GPIO_InitStruct.Mode = GPIO_MODE_INPUT;
  GPIO_InitStruct.Pull = GPIO_NOPULL;
  HAL_GPIO_Init(TE_GPIO_Port, &GPIO_InitStruct);

  /*Configure GPIO pins : RDX_Pin WRX_DCX_Pin */
  GPIO_InitStruct.Pin = RDX_Pin|WRX_DCX_Pin;
  GPIO_InitStruct.Mode = GPIO_MODE_OUTPUT_PP;
  GPIO_InitStruct.Pull = GPIO_NOPULL;
  GPIO_InitStruct.Speed = GPIO_SPEED_FREQ_LOW;
  HAL_GPIO_Init(GPIOD, &GPIO_InitStruct);

  /*Configure GPIO pins : R7_Pin DOTCLK_Pin B3_Pin */
  GPIO_InitStruct.Pin = R7_Pin|DOTCLK_Pin|B3_Pin;
  GPIO_InitStruct.Mode = GPIO_MODE_AF_PP;
  GPIO_InitStruct.Pull = GPIO_NOPULL;
  GPIO_InitStruct.Speed = GPIO_SPEED_FREQ_LOW;
  GPIO_InitStruct.Alternate = GPIO_AF14_LTDC;
  HAL_GPIO_Init(GPIOG, &GPIO_InitStruct);

  /*Configure GPIO pins : HSYNC_Pin G6_Pin R2_Pin */
  GPIO_InitStruct.Pin = HSYNC_Pin|G6_Pin|R2_Pin;
  GPIO_InitStruct.Mode = GPIO_MODE_AF_PP;
  GPIO_InitStruct.Pull = GPIO_NOPULL;
  GPIO_InitStruct.Speed = GPIO_SPEED_FREQ_LOW;
  GPIO_InitStruct.Alternate = GPIO_AF14_LTDC;
  HAL_GPIO_Init(GPIOC, &GPIO_InitStruct);

  /*Configure GPIO pin : I2C3_SDA_Pin */
  GPIO_InitStruct.Pin = I2C3_SDA_Pin;
  GPIO_InitStruct.Mode = GPIO_MODE_AF_OD;
  GPIO_InitStruct.Pull = GPIO_NOPULL;
  GPIO_InitStruct.Speed = GPIO_SPEED_FREQ_LOW;
  GPIO_InitStruct.Alternate = GPIO_AF4_I2C3;
  HAL_GPIO_Init(I2C3_SDA_GPIO_Port, &GPIO_InitStruct);

  /*Configure GPIO pin : I2C3_SCL_Pin */
  GPIO_InitStruct.Pin = I2C3_SCL_Pin;
  GPIO_InitStruct.Mode = GPIO_MODE_AF_OD;
  GPIO_InitStruct.Pull = GPIO_NOPULL;
  GPIO_InitStruct.Speed = GPIO_SPEED_FREQ_LOW;
  GPIO_InitStruct.Alternate = GPIO_AF4_I2C3;
  HAL_GPIO_Init(I2C3_SCL_GPIO_Port, &GPIO_InitStruct);

  /*Configure GPIO pins : STLINK_RX_Pin STLINK_TX_Pin */
  GPIO_InitStruct.Pin = STLINK_RX_Pin|STLINK_TX_Pin;
  GPIO_InitStruct.Mode = GPIO_MODE_AF_PP;
  GPIO_InitStruct.Pull = GPIO_NOPULL;
  GPIO_InitStruct.Speed = GPIO_SPEED_FREQ_VERY_HIGH;
  GPIO_InitStruct.Alternate = GPIO_AF7_USART1;
  HAL_GPIO_Init(GPIOA, &GPIO_InitStruct);

  /*Configure GPIO pins : G7_Pin B2_Pin */
  GPIO_InitStruct.Pin = G7_Pin|B2_Pin;
  GPIO_InitStruct.Mode = GPIO_MODE_AF_PP;
  GPIO_InitStruct.Pull = GPIO_NOPULL;
  GPIO_InitStruct.Speed = GPIO_SPEED_FREQ_LOW;
  GPIO_InitStruct.Alternate = GPIO_AF14_LTDC;
  HAL_GPIO_Init(GPIOD, &GPIO_InitStruct);

  /*Configure GPIO pins : G3_Pin B4_Pin */
  GPIO_InitStruct.Pin = G3_Pin|B4_Pin;
  GPIO_InitStruct.Mode = GPIO_MODE_AF_PP;
  GPIO_InitStruct.Pull = GPIO_NOPULL;
  GPIO_InitStruct.Speed = GPIO_SPEED_FREQ_LOW;
  GPIO_InitStruct.Alternate = GPIO_AF9_LTDC;
  HAL_GPIO_Init(GPIOG, &GPIO_InitStruct);

  /*Configure GPIO pins : LD3_Pin LD4_Pin */
  GPIO_InitStruct.Pin = LD3_Pin|LD4_Pin;
  GPIO_InitStruct.Mode = GPIO_MODE_OUTPUT_PP;
  GPIO_InitStruct.Pull = GPIO_NOPULL;
  GPIO_InitStruct.Speed = GPIO_SPEED_FREQ_LOW;
  HAL_GPIO_Init(GPIOG, &GPIO_InitStruct);

  /*Configure GPIO pins : SDCKE1_Pin SDNE1_Pin */
  GPIO_InitStruct.Pin = SDCKE1_Pin|SDNE1_Pin;
  GPIO_InitStruct.Mode = GPIO_MODE_AF_PP;
  GPIO_InitStruct.Pull = GPIO_NOPULL;
  GPIO_InitStruct.Speed = GPIO_SPEED_FREQ_VERY_HIGH;
  GPIO_InitStruct.Alternate = GPIO_AF12_FMC;
  HAL_GPIO_Init(GPIOB, &GPIO_InitStruct);

  /* EXTI interrupt init*/
  HAL_NVIC_SetPriority(EXTI0_IRQn, 0, 0);
  HAL_NVIC_EnableIRQ(EXTI0_IRQn);

}

/* USER CODE BEGIN 4 */
#endif
/* USER CODE END 4 */

void Error_Handler(void)
{
  __disable_irq();
  while (1)
  {
  }
}
